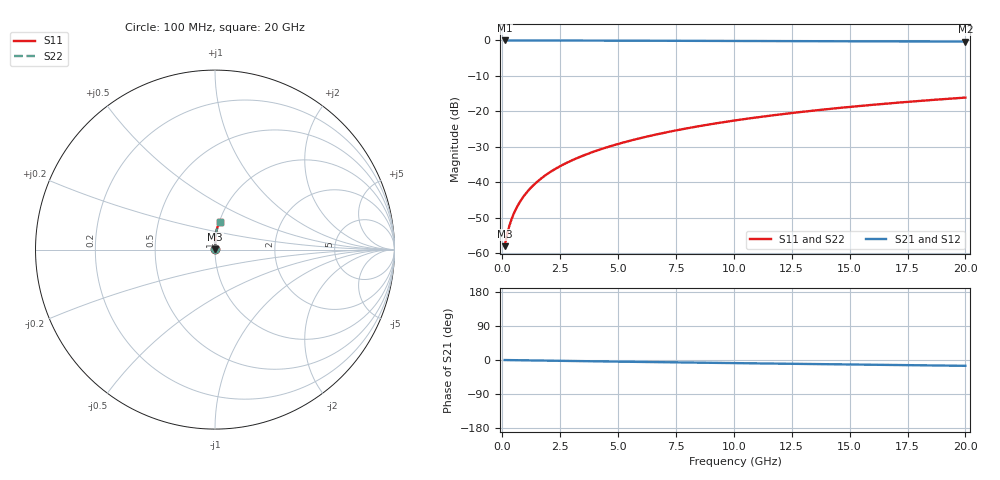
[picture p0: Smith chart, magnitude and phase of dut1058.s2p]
! Touchstone file exported from HFSS 2024.1.0
!  File:  C:/UserFiles/LocalFiles/RDL_TSV_Batchsim/temp_RDL_top_1058_1780044716.aedt
!  Generated:  04:54:11 PM May 29, 2026
!  Design:  RDL_top
!  Project:  temp_RDL_top_1058_1780044716
!  Setup:  Setup1
!  Solution:  Sweep
! Variables:
!  dtsv = 10.80580581um
!  hbump = 3um
!  htsv = 93.33um
!  ldown = 100um
!  lrdl = 201.2um
!  p = 40
!  p1 = 45.54um
!  rhole = 1um
!  t = 450um
!  tdown = 3.915915916um
!  trdl = 3.87um
!  wdown = 15.38538539um
!  wrdl = 22.65um
# GHz S MA R 50.000000
! Terminal data exported
! Port[1] = Box2_T1
! Port[2] = Box2_T2
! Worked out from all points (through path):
!   200 points, 100 MHz to 20 GHz, reference 50 ohm
!   highest |S21| = -0.01 dB at 100 MHz (marker M1); lowest = -0.3 dB at 20 GHz (marker M2)
!   group delay of S21, straight-line fit = 2.11 ps
!   lowest |S11| = -58.0 dB at 100 MHz (marker M3), VSWR 1.00, Z = 50.1 + j0.0748 ohm
!   |S11| at or under -10 dB: start of sweep to end of sweep
!   |S22| runs from -58.0 to -16.1 dB; largest |S21 - S12| = 3.5e-15
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0.1  0.001262 36.3  0.999 -0.1  0.999 -0.1  0.001262 36.3
! Gamma 0 0 0 0
! Port Impedance 50 0 50 0
0.2  0.001808 53.7  0.9989 -0.2  0.9989 -0.2  0.001808 53.7
0.3  0.002412 62.4  0.9988 -0.3  0.9988 -0.3  0.002412 62.4
0.4  0.003028 67.6  0.9988 -0.4  0.9988 -0.4  0.003028 67.6
0.5  0.003651 71.2  0.9987 -0.5  0.9987 -0.5  0.003651 71.2
0.6  0.004281 73.9  0.9987 -0.5  0.9987 -0.5  0.004281 73.9
0.8  0.00556 77.6  0.9986 -0.7  0.9986 -0.7  0.00556 77.6
1.1  0.007511 81.0  0.9984 -1.0  0.9984 -1.0  0.007511 81.0
1.3  0.008829 82.5  0.9983 -1.2  0.9983 -1.2  0.008829 82.5
1.6  0.01082 84.1  0.998 -1.4  0.998 -1.4  0.01082 84.1
2.1  0.01419 85.9  0.9975 -1.9  0.9975 -1.9  0.01419 85.9
2.7  0.01829 87.3  0.9968 -2.4  0.9968 -2.4  0.01829 87.3
3.5  0.02388 88.4  0.9956 -3.1  0.9956 -3.1  0.02388 88.4
4.2  0.02889 89.0  0.9944 -3.6  0.9944 -3.6  0.02889 89.0
5  0.03476 89.5  0.9929 -4.3  0.9929 -4.3  0.03476 89.5
5.9  0.04153 89.7  0.9911 -5.0  0.9911 -5.0  0.04153 89.7
6.8  0.04847 89.6  0.9892 -5.7  0.9892 -5.7  0.04847 89.6
8.4  0.06115 89.2  0.9857 -7.0  0.9857 -7.0  0.06116 89.2
10.1  0.07498 88.3  0.9821 -8.3  0.9821 -8.3  0.07499 88.3
13.4  0.1023 85.9  0.9753 -10.7  0.9753 -10.7  0.1023 85.9
16.7  0.1296 83.2  0.9688 -13.0  0.9688 -13.0  0.1296 83.2
20  0.1565 80.4  0.9623 -15.4  0.9623 -15.4  0.1565 80.4
